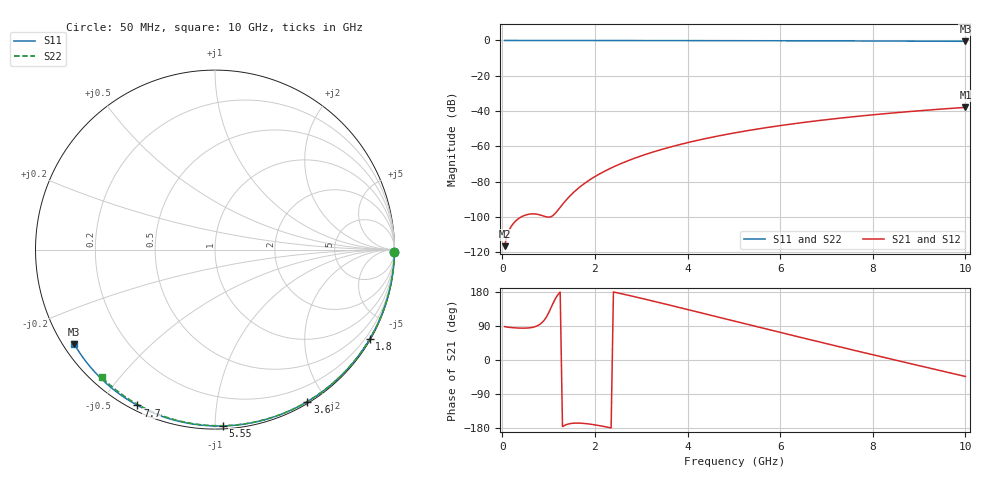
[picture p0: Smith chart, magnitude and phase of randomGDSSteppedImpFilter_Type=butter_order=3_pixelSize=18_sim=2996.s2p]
! freq	dB(S11)	phase(S11)	dB(S12)	phase(S12)
!  dB(S21)	phase(S21)	dB(S22)	phase(S22)
!S-par simulation data
#  GHz  S  DB  R 50
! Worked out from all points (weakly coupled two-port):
!   200 points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, 50 MHz to 10 GHz, reference 50 ohm
!   highest |S21| = -37.91 dB at 10 GHz (marker M1); lowest = -116.5 dB at 50 MHz (marker M2)
!   lowest |S11| = -0.5 dB at 10 GHz (marker M3), VSWR 35.21, Z = 1.55 - j15.2 ohm
!   |S11| at or under -10 dB: nowhere
!   |S22| runs from -0.4 to 0.0 dB; largest |S21 - S12| = 0
!   S11 on the Smith chart (normalised r, x): 50 MHz: open; 1.8 GHz: 0.03, -3.72; 3.6 GHz: 0.02, -1.78; 5.55 GHz: 0.02, -1.05; 7.7 GHz: 0.02, -0.62; 10 GHz: 0.03, -0.30
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0.05  -0.00 -0.9  -116.52 88.3  -116.52 88.3  -0.00 -0.8
0.45  -0.01 -7.6  -99.41 84.0  -99.41 84.0  -0.01 -6.8
0.9  -0.02 -15.2  -99.52 104.2  -99.52 104.2  -0.02 -13.6
1.3  -0.03 -21.9  -92.86 -175.8  -92.86 -175.8  -0.02 -19.6
1.75  -0.04 -29.3  -81.47 -167.2  -81.47 -167.2  -0.03 -26.2
1.8  -0.04 -30.1  -80.52 -167.8  -80.52 -167.8  -0.03 -27.0
1.85  -0.04 -30.9  -79.61 -168.5  -79.61 -168.5  -0.04 -27.7
2.05  -0.04 -34.2  -76.34 -172.2  -76.34 -172.2  -0.04 -30.6
2.2  -0.05 -36.6  -74.20 -175.5  -74.20 -175.5  -0.04 -32.8
2.55  -0.05 -42.2  -69.89 175.5  -69.89 175.5  -0.05 -37.9
2.95  -0.06 -48.6  -65.84 164.4  -65.84 164.4  -0.06 -43.6
3.4  -0.07 -55.6  -62.05 151.2  -62.05 151.2  -0.07 -50.0
3.6  -0.08 -58.7  -60.56 145.3  -60.56 145.3  -0.07 -52.7
4.3  -0.10 -69.3  -56.08 124.2  -56.08 124.2  -0.09 -62.3
5.05  -0.12 -80.2  -52.20 101.5  -52.20 101.5  -0.11 -72.3
5.55  -0.14 -87.4  -50.00 86.4  -50.00 86.4  -0.13 -78.8
6.1  -0.17 -95.0  -47.86 69.9  -47.86 69.9  -0.15 -85.8
6.7  -0.20 -103.2  -45.80 52.0  -45.80 52.0  -0.18 -93.2
7.7  -0.27 -116.5  -42.89 22.6  -42.89 22.6  -0.24 -105.2
8.35  -0.32 -124.9  -41.27 3.7  -41.27 3.7  -0.29 -112.8
9.2  -0.40 -135.8  -39.41 -20.7  -39.41 -20.7  -0.36 -122.6
10  -0.49 -146.1  -37.91 -43.4  -37.91 -43.4  -0.44 -131.6
